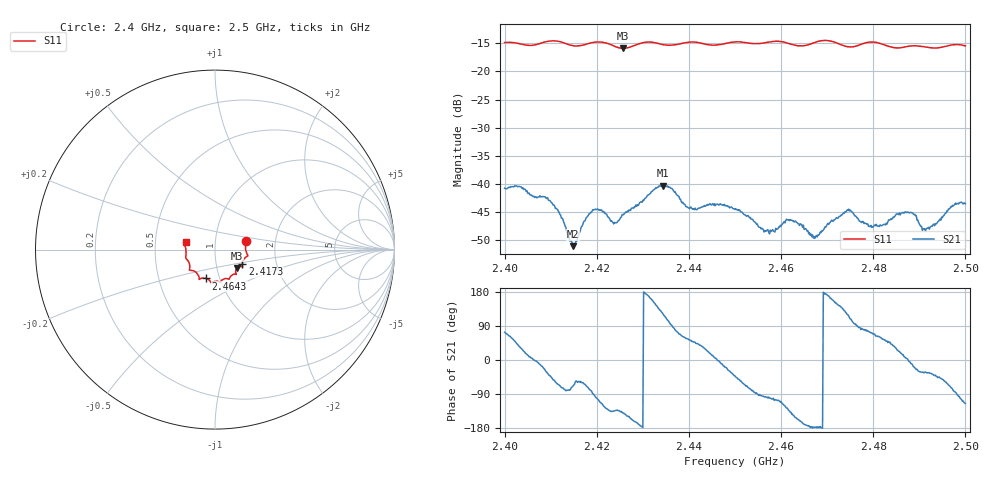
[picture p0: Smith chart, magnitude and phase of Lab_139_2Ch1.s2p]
# Hz S RI R 50
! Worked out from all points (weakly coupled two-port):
!   601 points, 2.4 GHz to 2.5 GHz, reference 50 ohm
!   highest |S21| = -40.30 dB at 2.4343 GHz (marker M1); lowest = -51.0 dB at 2.4148 GHz (marker M2)
!   lowest |S11| = -15.9 dB at 2.4257 GHz (marker M3), VSWR 1.38, Z = 62.5 - j13.2 ohm
!   |S11| at or under -10 dB: start of sweep to end of sweep
!   S12 and S22 are empty: the file has one direction only
!   S11 on the Smith chart (normalised r, x): 2.4 GHz: 1.41, +0.14; 2.4173 GHz: 1.34, -0.23; 2.4643 GHz: 0.86, -0.29; 2.5 GHz: 0.72, +0.06
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2.4e9  0.1737 0.049  0.00266 0.00879  0 0  0 0
2.409333e9  0.1826 -0.0299  0.00618 -0.00434  0 0  0 0
2.414833e9  0.1603 -0.0539  0.00102 -0.00261  0 0  0 0
2.416667e9  0.153 -0.0744  0.00212 -0.00359  0 0  0 0
2.417333e9  0.1522 -0.0818  0.00207 -0.0042  0 0  0 0
2.419667e9  0.1544 -0.0969  -0.00069 -0.00595  0 0  0 0
2.423833e9  0.1384 -0.0943  -0.00318 -0.00328  0 0  0 0
2.425667e9  0.1231 -0.1025  -0.00406 -0.00347  0 0  0 0
2.433333e9  0.1126 -0.1365  -0.00684 0.00638  0 0  0 0
2.434333e9  0.1066 -0.1362  -0.00516 0.00817  0 0  0 0
2.439833e9  0.0802 -0.1629  0.0035 0.00506  0 0  0 0
2.45e9  0.0293 -0.1806  0.00441 -0.00397  0 0  0 0
2.457e9  -0.0134 -0.1806  -0.000554 -0.00388  0 0  0 0
2.4615e9  -0.0273 -0.1756  -0.00309 -0.00366  0 0  0 0
2.464333e9  -0.0499 -0.1608  -0.00418 -0.0013  0 0  0 0
2.466667e9  -0.076 -0.1597  -0.00339 -0.000241  0 0  0 0
2.474667e9  -0.103 -0.1293  -0.00263 0.00537  0 0  0 0
2.4795e9  -0.1421 -0.1144  0.00134 0.00407  0 0  0 0
2.483333e9  -0.1405 -0.0901  0.00317 0.0036  0 0  0 0
2.488e9  -0.1603 -0.051  0.00557 -0.00056  0 0  0 0
2.491667e9  -0.1614 -0.0288  0.00334 -0.00227  0 0  0 0
2.5e9  -0.1634 0.042  -0.00281 -0.00604  0 0  0 0
